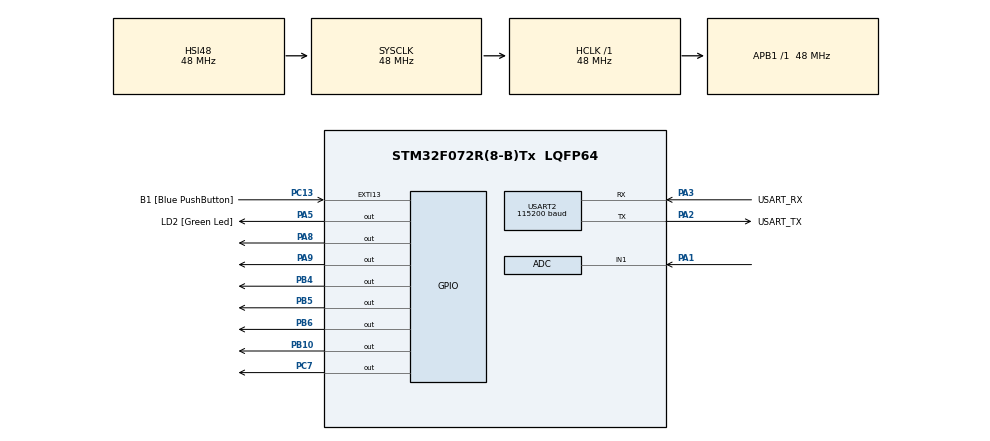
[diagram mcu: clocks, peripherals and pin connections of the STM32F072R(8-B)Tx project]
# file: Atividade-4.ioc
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ADC.ContinuousConvMode=ENABLE
Mcu.Family=STM32F0
Mcu.Name=STM32F072R(8-B)Tx
Mcu.Package=LQFP64
PA1.Mode=IN1
PA1.Signal=ADC_IN1
PA13.GPIO_Label=TMS
PA13.Mode=Serial_Wire
PA13.Signal=SYS_SWDIO
PA14.GPIO_Label=TCK
PA14.Mode=Serial_Wire
PA14.Signal=SYS_SWCLK
PA2.GPIO_Label=USART_TX
PA2.GPIO_Mode=GPIO_MODE_AF_PP
PA2.GPIO_PuPd=GPIO_NOPULL
PA2.GPIO_Speed=GPIO_SPEED_FREQ_LOW
PA2.Mode=Asynchronous
PA2.Signal=USART2_TX
PA3.GPIO_Label=USART_RX
PA3.GPIO_Mode=GPIO_MODE_AF_PP
PA3.GPIO_PuPd=GPIO_NOPULL
PA3.GPIO_Speed=GPIO_SPEED_FREQ_LOW
PA3.Mode=Asynchronous
PA3.Signal=USART2_RX
PA5.GPIO_Label=LD2 [Green Led]
PA5.GPIO_Mode=GPIO_MODE_OUTPUT_PP
PA5.GPIO_PuPd=GPIO_NOPULL
PA5.GPIO_Speed=GPIO_SPEED_FREQ_LOW
PA5.Signal=GPIO_Output
PA8.GPIO_ModeDefaultOutputPP=GPIO_MODE_OUTPUT_PP
PA8.Signal=GPIO_Output
PA9.GPIO_ModeDefaultOutputPP=GPIO_MODE_OUTPUT_PP
PA9.Signal=GPIO_Output
PB10.GPIO_ModeDefaultOutputPP=GPIO_MODE_OUTPUT_PP
PB10.Signal=GPIO_Output
PB4.GPIO_ModeDefaultOutputPP=GPIO_MODE_OUTPUT_PP
PB4.Signal=GPIO_Output
PB5.GPIO_ModeDefaultOutputPP=GPIO_MODE_OUTPUT_PP
PB5.Signal=GPIO_Output
PB6.GPIO_ModeDefaultOutputPP=GPIO_MODE_OUTPUT_PP
PB6.Signal=GPIO_Output
PC13.GPIO_Label=B1 [Blue PushButton]
PC13.GPIO_ModeDefaultEXTI=GPIO_MODE_IT_FALLING
PC13.Signal=GPXTI13
PC14-OSC32_IN.Mode=LSE-External-Oscillator
PC14-OSC32_IN.Signal=RCC_OSC32_IN
PC15-OSC32_OUT.Mode=LSE-External-Oscillator
PC15-OSC32_OUT.Signal=RCC_OSC32_OUT
PC7.GPIO_ModeDefaultOutputPP=GPIO_MODE_OUTPUT_PP
PC7.Signal=GPIO_Output
PF0-OSC_IN.Mode=HSE-External-Clock-Source
PF0-OSC_IN.Signal=RCC_OSC_IN
PF1-OSC_OUT.Signal=RCC_OSC_OUT
ProjectManager.HeapSize=0x200
ProjectManager.StackSize=0x400
ProjectManager.TargetToolchain=MDK-ARM V5
RCC.AHBFreq_Value=48000000
RCC.APB1Freq_Value=48000000
RCC.APB1TimFreq_Value=48000000
RCC.FLatency-AdvancedSettings=FLASH_LATENCY_1
RCC.HCLKFreq_Value=48000000
RCC.PLLDivider=RCC_PREDIV_DIV2
RCC.PLLMUL=RCC_PLL_MUL12
RCC.PREFETCH_ENABLE-AdvancedSettings=1
RCC.SYSCLKFreq_VALUE=48000000
RCC.SYSCLKSource=RCC_SYSCLKSOURCE_HSI48
USART2.BaudRate=115200
USART2.VirtualMode=VM_ASYNC
USART2.VirtualMode-Asynchronous=VM_ASYNC
board=NUCLEO-F072RB

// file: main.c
/* USER CODE BEGIN Header */
/**
  ******************************************************************************
  * @file           : main.c
  * @brief          : Main program body
  ******************************************************************************
  ** This notice applies to any and all portions of this file
  * that are not between comment pairs USER CODE BEGIN and
  * USER CODE END. Other portions of this file, whether
  * inserted by the user or by software development tools
  * are owned by their respective copyright owners.
  *
  * COPYRIGHT(c) 2019 STMicroelectronics
  *
  * Redistribution and use in source and binary forms, with or without modification,
  * are permitted provided that the following conditions are met:
  *   1. Redistributions of source code must retain the above copyright notice,
  *      this list of conditions and the following disclaimer.
  *   2. Redistributions in binary form must reproduce the above copyright notice,
  *      this list of conditions and the following disclaimer in the documentation
  *      and/or other materials provided with the distribution.
  *   3. Neither the name of STMicroelectronics nor the names of its contributors
  *      may be used to endorse or promote products derived from this software
  *      without specific prior written permission.
  *
  * THIS SOFTWARE IS PROVIDED BY THE COPYRIGHT HOLDERS AND CONTRIBUTORS "AS IS"
  * AND ANY EXPRESS OR IMPLIED WARRANTIES, INCLUDING, BUT NOT LIMITED TO, THE
  * IMPLIED WARRANTIES OF MERCHANTABILITY AND FITNESS FOR A PARTICULAR PURPOSE ARE
  * DISCLAIMED. IN NO EVENT SHALL THE COPYRIGHT HOLDER OR CONTRIBUTORS BE LIABLE
  * FOR ANY DIRECT, INDIRECT, INCIDENTAL, SPECIAL, EXEMPLARY, OR CONSEQUENTIAL
  * DAMAGES (INCLUDING, BUT NOT LIMITED TO, PROCUREMENT OF SUBSTITUTE GOODS OR
  * SERVICES; LOSS OF USE, DATA, OR PROFITS; OR BUSINESS INTERRUPTION) HOWEVER
  * CAUSED AND ON ANY THEORY OF LIABILITY, WHETHER IN CONTRACT, STRICT LIABILITY,
  * OR TORT (INCLUDING NEGLIGENCE OR OTHERWISE) ARISING IN ANY WAY OUT OF THE USE
  * OF THIS SOFTWARE, EVEN IF ADVISED OF THE POSSIBILITY OF SUCH DAMAGE.
  *
  ******************************************************************************
  */
/* USER CODE END Header */

#include "main.h"

/* USER CODE BEGIN PTD */

typedef unsigned char byte;

/* USER CODE END PTD */

/* USER CODE BEGIN PD */

//Pinos de controle
#define PIN_RS_SET 					(GPIOA->BSRR = 1 << 9) // PA9
#define PIN_RS_RESET 				(GPIOA->BSRR = 1 << 25)
#define PIN_EN_SET 					(GPIOC->BSRR = 1 << 7) // PC7
#define PIN_EN_RESET 				(GPIOC->BSRR = 1 << 23)
#define PIN_BACKLIGHT_SET 	(GPIOB->BSRR = 1 << 6) // PB6
#define PIN_BACKLIGHT_RESET (GPIOB->BSRR = 1 << 22)

//INTERFACE COM DISPLAY
#define D7_1 	(GPIOA->BSRR = 1 << 8) // PA8
#define D7_0 	(GPIOA->BSRR = 1 << 24)
#define D6_1 	(GPIOB->BSRR = 1 << 10)// PB10
#define D6_0 	(GPIOB->BSRR = 1 << 26)
#define D5_1 	(GPIOB->BSRR = 1 << 4) // PB4
#define D5_0 	(GPIOB->BSRR = 1 << 20)
#define D4_1 	(GPIOB->BSRR = 1 << 5) //PB5
#define D4_0 	(GPIOB->BSRR = 1 << 21)
//Cursor
#define CURSOR_LIGADO 		0x0E
#define CURSOR_DESLIGADO 	0x0C
#define CURSOR_PISCANTE 	0x0F

#define no_LCD 1
#define na_UART 2
char aonde = no_LCD;
/* USER CODE END PD */

ADC_HandleTypeDef hadc;

UART_HandleTypeDef huart2;

void SystemClock_Config(void);
static void MX_GPIO_Init(void);
static void MX_USART2_UART_Init(void);
static void MX_ADC_Init(void);
/* USER CODE BEGIN PFP */
void uDelay(void);
void delayUs(int tempo);
int fputc(int ch, FILE *f);
void LCD_INIT(byte estado);
void LCD_GOTO(byte x, byte y);
void LCD_WRCOM(byte COM);
void LCD_4BIT_WRCOM(byte COM);
void LCD_WRCHAR(byte CH);
void LCD_WRSTR(byte *str);

void lcd_wrcom4(byte com);
void lcd_wrcom(byte com);
void lcd_wrchar(byte ch);

//FUNCOES FEITAS PELOS ALUNOS
int  testaBit(byte aTestar, byte posicao);
void setBitPorta(byte COM4, int shift, int porta);
void coisaQueSeRepeteMuito();
void passaDados(byte COM4);
char readKeyboard();
void checkBacklightHour();
/* USER CODE END PFP */

int main(void)
{
  /* USER CODE BEGIN 1 */
	int leitura;
  float Xv, Xc;

  /* USER CODE END 1 */

  /* MCU Configuration--------------------------------------------------------*/

  /* Reset of all peripherals, Initializes the Flash interface and the Systick. */
  HAL_Init();

  /* Configure the system clock */
  SystemClock_Config();

  /* Initialize all configured peripherals */
  MX_GPIO_Init();
  MX_USART2_UART_Init();
  MX_ADC_Init();
  /* USER CODE BEGIN 2 */
	LCD_INIT(CURSOR_PISCANTE);
	PIN_BACKLIGHT_SET;
  /* USER CODE END 2 */

  /* Infinite loop */
  while (1)
  {

    /* USER CODE BEGIN 3 */
		LCD_WRCOM(0x01);
		HAL_ADC_Start(&hadc);
    HAL_ADC_PollForConversion(&hadc, 1);
    leitura = HAL_ADC_GetValue(&hadc);
    HAL_ADC_Stop(&hadc);
		//leitura da tensao

      Xv = leitura*0.000805; //leitura*3,3/4095  tens�o
      aonde = no_LCD;
			if (leitura < 1000) LCD_GOTO(13,0);
			else LCD_GOTO(12,0);
      printf("%d", leitura)	;
      LCD_GOTO(0,1);
      printf("%.1f Volts", Xv);
      aonde = na_UART;
      printf("Tensao(absoluto): %d\n", leitura);
      printf("Tensao(convertido): %.1fV\n", Xv);

		//leitura da temperatura
/*
      //Xc = leitura*0.000806; //leitura*1.5/1861  celcius
      Xc = ((330*(leitura-140))/4095)-4;  //celcius
      aonde = no_LCD;
			if (leitura < 1000) LCD_GOTO(13,0);
			else LCD_GOTO(12,0);
      printf("%d", leitura);
      LCD_GOTO(0,1);
      printf("%.1f%cC", Xc,223);
      aonde = na_UART;
      printf("Temperatura(absoluto): %d\n", leitura);
      printf("Temperatura(convertido): %.1fV\n", Xc);

    HAL_Delay(925);
  */}
  }
  /* USER CODE END 3 */

void SystemClock_Config(void)
{
  RCC_OscInitTypeDef RCC_OscInitStruct = {0};
  RCC_ClkInitTypeDef RCC_ClkInitStruct = {0};
  RCC_PeriphCLKInitTypeDef PeriphClkInit = {0};

  /**Initializes the CPU, AHB and APB busses clocks
  */
  RCC_OscInitStruct.OscillatorType = RCC_OSCILLATORTYPE_HSI14|RCC_OSCILLATORTYPE_HSI48;
  RCC_OscInitStruct.HSI48State = RCC_HSI48_ON;
  RCC_OscInitStruct.HSI14State = RCC_HSI14_ON;
  RCC_OscInitStruct.HSI14CalibrationValue = 16;
  RCC_OscInitStruct.PLL.PLLState = RCC_PLL_NONE;
  if (HAL_RCC_OscConfig(&RCC_OscInitStruct) != HAL_OK)
  {
    Error_Handler();
  }
  /**Initializes the CPU, AHB and APB busses clocks
  */
  RCC_ClkInitStruct.ClockType = RCC_CLOCKTYPE_HCLK|RCC_CLOCKTYPE_SYSCLK
                              |RCC_CLOCKTYPE_PCLK1;
  RCC_ClkInitStruct.SYSCLKSource = RCC_SYSCLKSOURCE_HSI48;
  RCC_ClkInitStruct.AHBCLKDivider = RCC_SYSCLK_DIV1;
  RCC_ClkInitStruct.APB1CLKDivider = RCC_HCLK_DIV1;

  if (HAL_RCC_ClockConfig(&RCC_ClkInitStruct, FLASH_LATENCY_1) != HAL_OK)
  {
    Error_Handler();
  }
  PeriphClkInit.PeriphClockSelection = RCC_PERIPHCLK_USART2;
  PeriphClkInit.Usart2ClockSelection = RCC_USART2CLKSOURCE_PCLK1;
  if (HAL_RCCEx_PeriphCLKConfig(&PeriphClkInit) != HAL_OK)
  {
    Error_Handler();
  }
}

static void MX_ADC_Init(void)
{

  ADC_ChannelConfTypeDef sConfig = {0};

  /**Configure the global features of the ADC (Clock, Resolution, Data Alignment and number of conversion)
  */
  hadc.Instance = ADC1;
  hadc.Init.ClockPrescaler = ADC_CLOCK_ASYNC_DIV1;
  hadc.Init.Resolution = ADC_RESOLUTION_12B;
  hadc.Init.DataAlign = ADC_DATAALIGN_RIGHT;
  hadc.Init.ScanConvMode = ADC_SCAN_DIRECTION_FORWARD;
  hadc.Init.EOCSelection = ADC_EOC_SINGLE_CONV;
  hadc.Init.LowPowerAutoWait = DISABLE;
  hadc.Init.LowPowerAutoPowerOff = DISABLE;
  hadc.Init.ContinuousConvMode = ENABLE;
  hadc.Init.DiscontinuousConvMode = DISABLE;
  hadc.Init.ExternalTrigConv = ADC_SOFTWARE_START;
  hadc.Init.ExternalTrigConvEdge = ADC_EXTERNALTRIGCONVEDGE_NONE;
  hadc.Init.DMAContinuousRequests = DISABLE;
  hadc.Init.Overrun = ADC_OVR_DATA_PRESERVED;
  if (HAL_ADC_Init(&hadc) != HAL_OK)
  {
    Error_Handler();
  }
  /**Configure for the selected ADC regular channel to be converted.
  */
  sConfig.Channel = ADC_CHANNEL_1;
  sConfig.Rank = ADC_RANK_CHANNEL_NUMBER;
  sConfig.SamplingTime = ADC_SAMPLETIME_1CYCLE_5;
  if (HAL_ADC_ConfigChannel(&hadc, &sConfig) != HAL_OK)
  {
    Error_Handler();
  }

}

static void MX_USART2_UART_Init(void)
{

  huart2.Instance = USART2;
  huart2.Init.BaudRate = 115200;
  huart2.Init.WordLength = UART_WORDLENGTH_8B;
  huart2.Init.StopBits = UART_STOPBITS_1;
  huart2.Init.Parity = UART_PARITY_NONE;
  huart2.Init.Mode = UART_MODE_TX_RX;
  huart2.Init.HwFlowCtl = UART_HWCONTROL_NONE;
  huart2.Init.OverSampling = UART_OVERSAMPLING_16;
  huart2.Init.OneBitSampling = UART_ONE_BIT_SAMPLE_DISABLE;
  huart2.AdvancedInit.AdvFeatureInit = UART_ADVFEATURE_NO_INIT;
  if (HAL_UART_Init(&huart2) != HAL_OK)
  {
    Error_Handler();
  }

}

static void MX_GPIO_Init(void)
{
  GPIO_InitTypeDef GPIO_InitStruct = {0};

  /* GPIO Ports Clock Enable */
  __HAL_RCC_GPIOC_CLK_ENABLE();
  __HAL_RCC_GPIOF_CLK_ENABLE();
  __HAL_RCC_GPIOA_CLK_ENABLE();
  __HAL_RCC_GPIOB_CLK_ENABLE();

  /*Configure GPIO pin Output Level */
  HAL_GPIO_WritePin(GPIOA, LD2_Pin|GPIO_PIN_8|GPIO_PIN_9, GPIO_PIN_RESET);

  /*Configure GPIO pin Output Level */
  HAL_GPIO_WritePin(GPIOB, GPIO_PIN_10|GPIO_PIN_4|GPIO_PIN_5|GPIO_PIN_6, GPIO_PIN_RESET);

  /*Configure GPIO pin Output Level */
  HAL_GPIO_WritePin(GPIOC, GPIO_PIN_7, GPIO_PIN_RESET);

  /*Configure GPIO pin : B1_Pin */
  GPIO_InitStruct.Pin = B1_Pin;
  GPIO_InitStruct.Mode = GPIO_MODE_IT_FALLING;
  GPIO_InitStruct.Pull = GPIO_NOPULL;
  HAL_GPIO_Init(B1_GPIO_Port, &GPIO_InitStruct);

  /*Configure GPIO pins : LD2_Pin PA8 PA9 */
  GPIO_InitStruct.Pin = LD2_Pin|GPIO_PIN_8|GPIO_PIN_9;
  GPIO_InitStruct.Mode = GPIO_MODE_OUTPUT_PP;
  GPIO_InitStruct.Pull = GPIO_NOPULL;
  GPIO_InitStruct.Speed = GPIO_SPEED_FREQ_LOW;
  HAL_GPIO_Init(GPIOA, &GPIO_InitStruct);

  /*Configure GPIO pins : PB10 PB4 PB5 PB6 */
  GPIO_InitStruct.Pin = GPIO_PIN_10|GPIO_PIN_4|GPIO_PIN_5|GPIO_PIN_6;
  GPIO_InitStruct.Mode = GPIO_MODE_OUTPUT_PP;
  GPIO_InitStruct.Pull = GPIO_NOPULL;
  GPIO_InitStruct.Speed = GPIO_SPEED_FREQ_LOW;
  HAL_GPIO_Init(GPIOB, &GPIO_InitStruct);

  /*Configure GPIO pin : PC7 */
  GPIO_InitStruct.Pin = GPIO_PIN_7;
  GPIO_InitStruct.Mode = GPIO_MODE_OUTPUT_PP;
  GPIO_InitStruct.Pull = GPIO_NOPULL;
  GPIO_InitStruct.Speed = GPIO_SPEED_FREQ_LOW;
  HAL_GPIO_Init(GPIOC, &GPIO_InitStruct);

}

/* USER CODE BEGIN 4 */

void uDelay(void) {

	int x = 10;

	while(x) x--;
}

void delayUs(int tempo) {

	while(tempo--) uDelay();
}

int fputc(int ch, FILE *f) {

	if (aonde == no_LCD) lcd_wrchar(ch);
	if (aonde == na_UART) HAL_UART_Transmit(&huart2, (uint8_t *)&ch, 1, 10);
	return ch;

}

void LCD_INIT(byte estado) {

	lcd_wrcom4(3); // comandos em 4 bits
	lcd_wrcom4(3);
	lcd_wrcom4(3);
	lcd_wrcom4(2);
	lcd_wrcom(0x28); // interface de 4 bits
	lcd_wrcom(estado); // cursor
	lcd_wrcom(0x06); // shift
	lcd_wrcom(0x01); //clear
}

void LCD_GOTO(byte x, byte y) {

	if(y == 0)
		lcd_wrcom(0x80 + x);

	else if(y == 1)
		lcd_wrcom(0xC0 + x);

	else if(y == 2)
		lcd_wrcom(0x90 + x);

	else if(y == 3)
		lcd_wrcom(0xD0 + x);
}

int testaBit(byte aTestar, byte posicao){

	return aTestar & (1 << posicao);
}

void lcd_sendData(byte x)
{
	(testaBit(x, 3)) ? D7_1 : D7_0;
	(testaBit(x, 2)) ? D6_1 : D6_0;
	(testaBit(x, 1)) ? D5_1 : D5_0;
	(testaBit(x, 0)) ? D4_1 : D4_0;
}

void lcd_wrcom4(byte com)
{
	lcd_sendData(com);
	PIN_RS_RESET;
	PIN_EN_SET;
	delayUs(5);
	PIN_EN_RESET;
	HAL_Delay(5);
}

void lcd_wrcom(byte com)
{
	lcd_sendData(com/0x10);
	PIN_RS_RESET;
	PIN_EN_SET;
	delayUs(5);
	PIN_EN_RESET;
	delayUs(5);
	lcd_sendData(com%0x10);
	PIN_EN_SET;
	delayUs(5);
	PIN_EN_RESET;
	HAL_Delay(5);
}

void lcd_wrchar(byte ch)
{
	lcd_sendData(ch/0x10);
	PIN_RS_SET;
	PIN_EN_SET;
	delayUs(5);
	PIN_EN_RESET;
	delayUs(5);
	lcd_sendData(ch%0x10);
	PIN_EN_SET;
	delayUs(5);
	PIN_EN_RESET;
	HAL_Delay(5);
}

void LCD_WRCOM(byte COM) {

	PIN_RS_RESET;
	passaDados(COM/0x10);// msd
	delayUs(5);
	passaDados(COM%0x10); 	 // lsd
	HAL_Delay(5);
}

void LCD_4BIT_WRCOM(byte COM) {

	PIN_RS_RESET;
	passaDados(COM);
	HAL_Delay(5);
}

void LCD_WRCHAR(byte CH) {

	PIN_RS_SET;
	passaDados(CH/0x10); // msd
	delayUs(5);
	passaDados(CH%0x10);		 // lsd
	HAL_Delay(5);
}

void LCD_WRSTR(byte *str) {

	while(*str) lcd_wrchar(*(str++));
}

/* Funcao pega um padrao de bits e testa
 * o bit indicado pelo usuario, retornando
 * 1 se for verdadeiro e 0 se falso
 */

/* Gente eu nao sei. Isso se repete
 * muito no codigo, entao pus numa
 * funcao
 */
void coisaQueSeRepeteMuito() {

	PIN_EN_SET;
	delayUs(5);
	PIN_EN_RESET;
}

/* Essa funcao foi indicada pelo professor.
 * No inicio nao entendi muito bem, porem
 * apos ler um pouco ela seta as portas de
 * dados de acordo com o comando que usamos.
 * Ela e tao gerenalista que deu pra aplicar
 * em mais de um lugar do codigo. Nao sei muito
 * bem se vai funcionar, mas teoricamente acho que sim
 */
void passaDados(byte COM4) {

	setBitPorta(COM4, 3, 4);
	setBitPorta(COM4, 2, 3);
	setBitPorta(COM4, 1, 2);
	setBitPorta(COM4, 0, 1);
	coisaQueSeRepeteMuito();
}

void setBitPorta(byte COM4, int shift, int porta) {

	int aux = testaBit(COM4, shift);

	switch(porta) {

		case 4:

			(aux) ? D7_0 : D7_1;

		break;

		case 3:

			(aux) ? D6_0 : D6_1;

		break;

		case 2:

			(aux) ? D5_0 : D5_1;

		break;

		case 1:

			(aux) ? D4_0 : D4_1;

		break;
		default:

			PIN_BACKLIGHT_RESET;

		break;
	}
}
/* USER CODE END 4 */

void Error_Handler(void)
{
}

/************************ (C) COPYRIGHT STMicroelectronics *****END OF FILE****/
